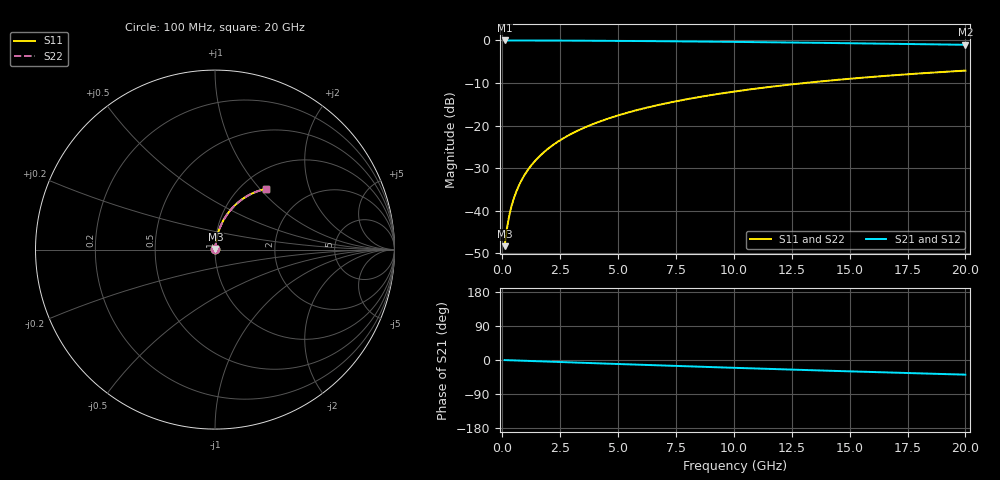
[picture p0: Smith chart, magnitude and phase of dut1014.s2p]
! Touchstone file exported from HFSS 2026.1.0
!  File:  C:/ffzhzh/LocalFiles/Ansys_Project_Files/temp_train_BSMRDL_1014_1783173328_51560.aedt
!  Generated:  09:56:50 PM Jul  4, 2026
!  Design:  BSMRDL
!  Project:  temp_train_BSMRDL_1014_1783173328_51560
! Variables:
!  h_bsmrdl = 5.56um
!  h_ox = 20um
!  h_rdl = 5um
!  h_sub = 80um
!  h_tmrdl = 5um
!  h_tsv = 80um
!  h_via = 3um
!  l_bsmrdl = 497.27um
!  l_sub = 897.27um
!  l_tmrdl = 200um
!  m_sub = 200um
!  pitch = 52.1um
!  r_tsv = 6um
!  s_tmrdl = 10um
!  w_bsmrdl = 12.35um
!  w_sub = 500um
!  w_tmrdl = 12um
!  x_tsv_center1 = 206um
!  x_tsv_center2 = 715.62um
!  x_tsv_center3 = 927.62um
!  x_tsv_center4 = 1437.24um
!  x_tsv_center5 = 1649.24um
!  x_tsv_center6 = 2158.86um
# GHz S MA R 50.000000
! Terminal data exported
! Port[1] = BSM_RDL1_1_T1
! Port[2] = BSM_RDL1_1_T2
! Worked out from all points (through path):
!   200 points, 100 MHz to 20 GHz, reference 50 ohm
!   highest |S21| = -0.02 dB at 100 MHz (marker M1); lowest = -1.0 dB at 20 GHz (marker M2)
!   group delay of S21, straight-line fit = 5.37 ps
!   lowest |S11| = -48.3 dB at 100 MHz (marker M3), VSWR 1.01, Z = 50.3 + j0.279 ohm
!   |S11| at or under -10 dB: start of sweep to 13.09 GHz
!   |S22| runs from -48.3 to -7.1 dB; largest |S21 - S12| = 3e-15
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0.1  0.003827 46.5  0.9974 -0.2  0.9974 -0.2  0.003827 46.5
! Gamma 0 0 0 0
! Port Impedance 50 0 50 0
0.2  0.006157 63.8  0.9973 -0.4  0.9973 -0.4  0.006157 63.8
0.3  0.008713 71.0  0.9972 -0.7  0.9972 -0.7  0.008713 71.0
0.4  0.01133 74.8  0.9971 -0.9  0.9971 -0.9  0.01133 74.8
0.5  0.01397 77.2  0.9971 -1.1  0.9971 -1.1  0.01397 77.2
0.7  0.01928 79.7  0.9969 -1.5  0.9969 -1.5  0.01928 79.7
0.8  0.02195 80.5  0.9968 -1.7  0.9968 -1.7  0.02195 80.5
1  0.02729 81.4  0.9966 -2.2  0.9966 -2.2  0.02729 81.4
1.2  0.03264 81.9  0.9963 -2.6  0.9963 -2.6  0.03264 81.9
1.4  0.03798 82.1  0.9961 -3.0  0.9961 -3.0  0.03798 82.1
1.7  0.04598 82.1  0.9956 -3.7  0.9956 -3.7  0.04598 82.1
2  0.05396 81.9  0.995 -4.3  0.995 -4.3  0.05396 81.9
2.7  0.07242 81.0  0.9934 -5.8  0.9934 -5.8  0.07242 81.0
3.5  0.09323 79.7  0.991 -7.5  0.991 -7.5  0.09323 79.7
4.2  0.1112 78.4  0.9887 -8.9  0.9887 -8.9  0.1112 78.4
5  0.1314 76.9  0.9857 -10.6  0.9857 -10.6  0.1314 76.9
6.8  0.1757 73.5  0.9776 -14.3  0.9776 -14.3  0.1757 73.5
8.3  0.2112 70.7  0.9699 -17.3  0.9699 -17.3  0.2112 70.7
10.1  0.2523 67.3  0.9593 -20.8  0.9593 -20.8  0.2523 67.3
13.4  0.3225 61.3  0.9373 -27.1  0.9373 -27.1  0.3225 61.3
16.7  0.3855 55.5  0.9127 -33.0  0.9127 -33.0  0.3855 55.5
20  0.4413 50.0  0.8869 -38.6  0.8869 -38.6  0.4413 50.0
